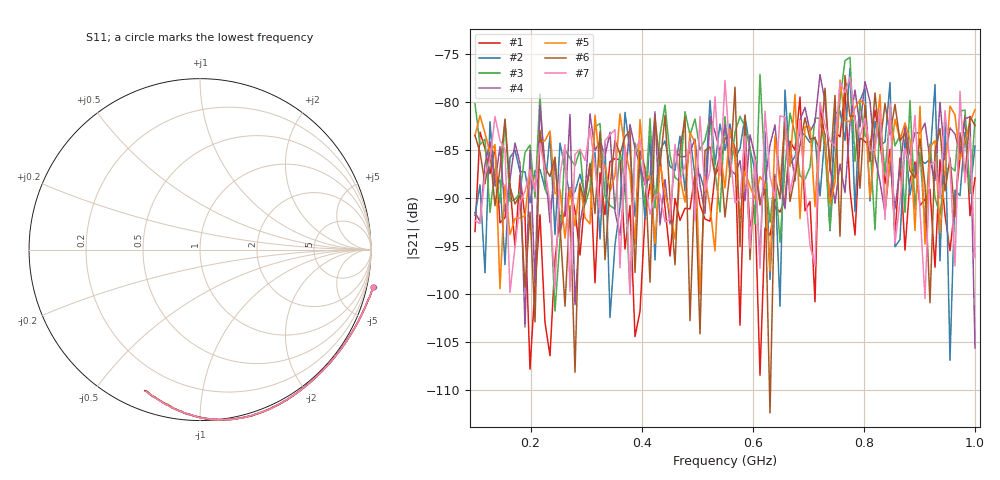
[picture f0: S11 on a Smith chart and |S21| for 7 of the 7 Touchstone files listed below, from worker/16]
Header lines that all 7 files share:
# HZ S RI R 50
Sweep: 100 MHz to 1 GHz
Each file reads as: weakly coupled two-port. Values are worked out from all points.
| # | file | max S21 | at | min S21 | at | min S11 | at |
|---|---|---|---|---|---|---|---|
| 1 | 20201206_164950.s2p | -78.58 dB | 766 MHz | -108.5 dB | 613 MHz | -1.1 dB | 1 GHz |
| 2 | 20201206_164951.s2p | -76.47 dB | 775 MHz | -106.9 dB | 955 MHz | -1.1 dB | 1 GHz |
| 3 | 20201206_164953.s2p | -75.31 dB | 775 MHz | -101.8 dB | 244 MHz | -1.1 dB | 1 GHz |
| 4 | 20201206_164954.s2p | -77.12 dB | 721 MHz | -105.6 dB | 1 GHz | -1.0 dB | 1 GHz |
| 5 | 20201206_164955.s2p | -77.70 dB | 757 MHz | -100.0 dB | 505 MHz | -1.0 dB | 1 GHz |
| 6 | 20201206_164956.s2p | -77.22 dB | 766 MHz | -112.4 dB | 631 MHz | -1.1 dB | 1 GHz |
| 7 | 20201206_164957.s2p | -77.39 dB | 775 MHz | -100.5 dB | 910 MHz | -1.0 dB | 1 GHz |
